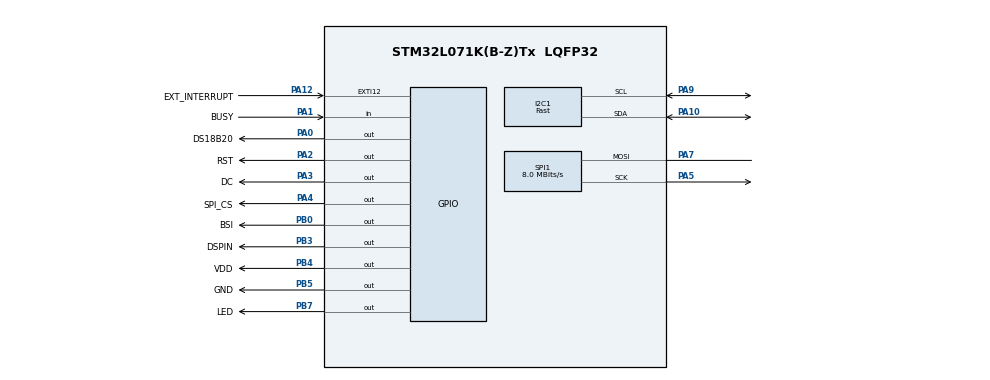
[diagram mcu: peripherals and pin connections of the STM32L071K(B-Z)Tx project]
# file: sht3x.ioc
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Mcu.Family=STM32L0
Dma.SPI1_TX.0.MemInc=DMA_MINC_ENABLE
Dma.SPI1_TX.0.PeriphInc=DMA_PINC_DISABLE
I2C1.I2C_Speed_Mode=I2C_Fast
SPI1.VirtualType=VM_MASTER
PA0.GPIO_Label=DS18B20
VP_RTC_VS_RTC_Activate.Mode=RTC_Enabled
PB0.GPIO_Label=BSI
RCC.SYSCLKSource=RCC_SYSCLKSOURCE_HSI
ProjectManager.StackSize=0x400
SYS.Mode=PWR_PVD_MODE_IT_RISING_FALLING
PA12.Signal=GPXTI12
SPI1.Direction=SPI_DIRECTION_1LINE
RCC.HCLKFreq_Value=16000000
RCC.APB2TimFreq_Value=16000000
SPI1.CalculateBaudRate=8.0 MBits/s
RCC.AHBFreq_Value=16000000
RCC.PLLMUL=RCC_PLLMUL_4
PA14.Mode=Serial_Wire
PB7.Signal=GPIO_Output
PA0.Signal=GPIO_Output
PB7.GPIO_Label=LED
Dma.SPI1_TX.0.Mode=DMA_NORMAL
Mcu.Package=LQFP32
TIM2.Prescaler=15
PA2.GPIO_Label=RST
PA10.Signal=I2C1_SDA
VP_SYS_V_PVD_IN.Mode=Mode_PVD_Int
PB5.GPIO_Label=GND
RCC.APB1TimFreq_Value=16000000
Dma.Request0=SPI1_TX
SPI1.BaudRatePrescaler=SPI_BAUDRATEPRESCALER_2
PA4.GPIO_Label=SPI_CS
NVIC.EXTI4_15_IRQn=true\:3\:0\:true\:false\:true\:true\:true
PB4.Signal=GPIO_Output
PA3.Signal=GPIO_Output
PA5.Mode=Simplex_Bidirectional_Master
PB3.GPIO_Label=DSPIN
RCC.MSI_VALUE=2097000
PA7.Mode=Simplex_Bidirectional_Master
SYS.PVDLevel=PWR_PVDLEVEL_6
PA10.Mode=I2C
PA12.GPIO_Label=EXT_INTERRUPT
PA13.Signal=SYS_SWDIO
RCC.HSI16_VALUE=16000000
PA9.Mode=I2C
ProjectManager.TargetToolchain=STM32CubeIDE
Dma.SPI1_TX.0.PeriphDataAlignment=DMA_PDATAALIGN_BYTE
Dma.SPI1_TX.0.Direction=DMA_MEMORY_TO_PERIPH
PA9.Signal=I2C1_SCL
I2C1.Timing=0x0010061A
RCC.LSE_VALUE=32768
PA1.Signal=GPIO_Input
PA5.Signal=SPI1_SCK
board=custom
RCC.VCOOutputFreq_Value=64000000
PA7.GPIO_Speed=GPIO_SPEED_FREQ_HIGH
RCC.APB2Freq_Value=16000000
PB4.GPIO_Label=VDD
VP_TIM2_VS_ClockSourceINT.Mode=Internal
SPI1.Mode=SPI_MODE_MASTER
PA1.GPIO_Label=BUSY
Dma.SPI1_TX.0.Instance=DMA1_Channel3
PA13.Mode=Serial_Wire
Mcu.Name=STM32L071K(B-Z)Tx
PA2.Signal=GPIO_Output
PB3.Signal=GPIO_Output
PA4.Signal=GPIO_Output
RCC.SYSCLKFreq_VALUE=16000000
PB5.Signal=GPIO_Output
PB5.GPIO_PuPd=GPIO_PULLDOWN
PA14.Signal=SYS_SWCLK
ProjectManager.HeapSize=0x200
Dma.SPI1_TX.0.MemDataAlignment=DMA_MDATAALIGN_BYTE
Dma.SPI1_TX.0.Priority=DMA_PRIORITY_LOW
RCC.HSI_VALUE=16000000
VP_RTC_VS_RTC_WakeUp_intern.Mode=WakeUp
PA5.GPIO_Speed=GPIO_SPEED_FREQ_HIGH
NVIC.DMA1_Channel2_3_IRQn=true\:1\:0\:true\:false\:true\:false\:true
RCC.APB1Freq_Value=16000000
PB0.Signal=GPIO_Output
PB3.GPIO_ModeDefaultOutputPP=GPIO_MODE_OUTPUT_OD
PA3.GPIO_Label=DC
PA7.Signal=SPI1_MOSI

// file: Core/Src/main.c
/* USER CODE BEGIN Header */
/**
  ******************************************************************************
  * @file           : main.c
  * @brief          : Main program body
  ******************************************************************************
  * @attention
  *
  * <h2><center>&copy; Copyright (c) 2021 STMicroelectronics.
  * All rights reserved.</center></h2>
  *
  * This software component is licensed by ST under BSD 3-Clause license,
  * the "License"; You may not use this file except in compliance with the
  * License. You may obtain a copy of the License at:
  *                        opensource.org/licenses/BSD-3-Clause
  *
  ******************************************************************************
  */
/* USER CODE END Header */
#include "main.h"
#include "dma.h"
#include "i2c.h"
#include "rtc.h"
#include "spi.h"
#include "tim.h"
#include "gpio.h"

/* USER CODE BEGIN Includes */
#include "epd2in13d.h"
#include "util.h"
#include "fonts.h"
#include "ds18b20.h"
#include <stdlib.h>
#include "epd_test.h"
#include "sht3x.h"
/* USER CODE END Includes */

/* USER CODE BEGIN PTD */
__IO uint32_t main_timer = MAIN_TIMER_MS;

typedef enum {
    ACTIVE_SENSOR_DS18B20,
    ACTIVE_SENSOR_SHT3X,
    ACTIVE_SENSOR_FAIL
} active_sensor_type;

static char *active_sensor_name[3] = {
    "Active sensor is ds18b20",
    "Active sensor is sht3x",
    "Active sensor failed"
};

static active_sensor_type active_sensor = ACTIVE_SENSOR_FAIL;
/* USER CODE END PTD */

/* USER CODE BEGIN PM */
static sht3x_handle_t handle[] = {
        {
                .i2c_handle = SHT3X_I2C,
                .device_address = SHT3X_I2C_DEVICE_ADDRESS_ADDR_PIN_LOW
        }
};

static ds18b20_cfg_t ds18b20_init_cfg[] = {
        {
                .mode = SKIP_ROM,
                .resolution = RESOLUTION_12BIT,
                .temp_high_trigger = DS_TH_REGISTER_VALUE,
                .temp_low_trigger = DS_TL_REGISTER_VALUE,
                .GPIOx = DS_ONE_WIRE_PORT,
                .odr_bit = DS_ONE_WIRE_ODR_BIT,
                .idr_bit = DS_ONE_WIRE_IDR_BIT,
        }
};
/* USER CODE END PM */

/* USER CODE BEGIN PV */
 void main_loop()
 {
     if (main_timer == 0U) {
         LL_GPIO_TogglePin(LED_GPIO_Port, LED_Pin);

         if (active_sensor == ACTIVE_SENSOR_FAIL) {
             LL_GPIO_SetPinMode(GPIOA, DS_ONE_WIRE_PIN, LL_GPIO_MODE_OUTPUT);
             LL_mDelay(100);
             if (ds18b20_init(ds18b20_init_cfg)) {
                 active_sensor = ACTIVE_SENSOR_DS18B20;
                 DBG("ds18b20 successfully initialized\n");
             } else {
                 if (LL_I2C_IsEnabled(handle->i2c_handle)) {
                     LL_I2C_Disable(handle->i2c_handle);
                 }
                 LL_GPIO_SetPinMode(GPIOA, DS_ONE_WIRE_PIN, LL_GPIO_MODE_ALTERNATE);
                 LL_mDelay(100);
             }

             if (sht3x_init(handle)) {
                 active_sensor = ACTIVE_SENSOR_SHT3X;
                 DBG("SHT3X successfully initialized\n");
             }

             DBG("%s\n", active_sensor_name[active_sensor]);
         }

         if (!is_ds18b20_active() && active_sensor == ACTIVE_SENSOR_DS18B20) {
             if (LL_I2C_IsEnabled(handle->i2c_handle)) {
                 LL_I2C_Disable(handle->i2c_handle);
             }
             active_sensor = ACTIVE_SENSOR_FAIL;
             LL_GPIO_SetPinMode(GPIOA, DS_ONE_WIRE_PIN, LL_GPIO_MODE_ALTERNATE);
             DBG("%s\n", active_sensor_name[active_sensor]);
         }

         if (!is_sht3x_active() && active_sensor == ACTIVE_SENSOR_SHT3X) {
             active_sensor = ACTIVE_SENSOR_FAIL;
             LL_GPIO_SetPinMode(GPIOA, DS_ONE_WIRE_PIN, LL_GPIO_MODE_OUTPUT);
             DBG("%s\n", active_sensor_name[active_sensor]);
         }

         LL_mDelay(100);

         main_timer = MAIN_TIMER_MS;
     }
 }
/* USER CODE END PV */

void SystemClock_Config(void);
/* USER CODE BEGIN PFP */
#if defined(DEBUG) && defined(USING_SEMIHOSTING)
extern void initialise_monitor_handles(void);
#endif
/* USER CODE END PFP */

int main(void)
{

  /* MCU Configuration--------------------------------------------------------*/

  /* Reset of all peripherals, Initializes the Flash interface and the Systick. */

  LL_APB2_GRP1_EnableClock(LL_APB2_GRP1_PERIPH_SYSCFG);
  LL_APB1_GRP1_EnableClock(LL_APB1_GRP1_PERIPH_PWR);

  /* System interrupt init*/

  /** PVD Configuration
  */
  LL_PWR_SetPVDLevel(LL_PWR_PVDLEVEL_6);

  /* Configure EXTI line 16 */
  LL_EXTI_InitTypeDef exti_initstruct;
  exti_initstruct.Line_0_31 = LL_EXTI_LINE_16;
  exti_initstruct.LineCommand = ENABLE;

  exti_initstruct.Mode = LL_EXTI_MODE_IT;

  exti_initstruct.Trigger = LL_EXTI_TRIGGER_RISING_FALLING;

  LL_EXTI_Init( &exti_initstruct);
  /** Enable the PVD Output
  */
  LL_PWR_EnablePVD();

  /* Configure the system clock */
  SystemClock_Config();

  /* USER CODE BEGIN SysInit */
# if defined(USING_SEMIHOSTING)
  initialise_monitor_handles();
# endif
  /* USER CODE END SysInit */

  /* Initialize all configured peripherals */
  MX_GPIO_Init();
  MX_DMA_Init();
  MX_SPI1_Init();
  MX_RTC_Init();
  MX_TIM2_Init();
  MX_I2C1_Init();
  /* USER CODE BEGIN 2 */
  LL_SYSTICK_EnableIT();

  LL_GPIO_SetOutputPin(VDD_GPIO_Port, VDD_Pin);
  LL_GPIO_ResetOutputPin(DC_GPIO_Port, DC_Pin);
  LL_GPIO_SetOutputPin(SPI_CS_GPIO_Port, SPI_CS_Pin);
  LL_GPIO_SetOutputPin(RST_GPIO_Port, RST_Pin);
  LL_mDelay(500);

  /* Change i2c clock pin mode to output */
  LL_GPIO_SetPinMode(GPIOA, DS_ONE_WIRE_PIN, LL_GPIO_MODE_OUTPUT);
  LL_mDelay(10);
  if (ds18b20_init(ds18b20_init_cfg)) {
      active_sensor = ACTIVE_SENSOR_DS18B20;
      DBG("ds18b20 successfully initialized\n");
  } else {
      if (LL_I2C_IsEnabled(handle->i2c_handle)) {
          LL_I2C_Disable(handle->i2c_handle);
      }
      LL_GPIO_SetPinMode(GPIOA, DS_ONE_WIRE_PIN, LL_GPIO_MODE_ALTERNATE);
      DBG("ds18b20 initialization failed configuring clock pin to alternate mode\n");
      LL_mDelay(10);
  }

  if (sht3x_init(handle)) {
      active_sensor = ACTIVE_SENSOR_SHT3X;
      DBG("SHT3X successfully initialized\n");
  }
 // epd_2in13d_prepare();

  /* USER CODE END 2 */

  /* Infinite loop */
  /* USER CODE BEGIN WHILE */
  while (1)
  {
      sht3x_loop();
      main_loop();
      ds18b20_loop();
    //  epd_2in13d_loop();
#if 0

    LL_GPIO_SetOutputPin(LED_GPIO_Port, LED_Pin);
    LL_mDelay(1000);
    DBG("e-Paper init failed\n");
    LL_GPIO_ResetOutputPin(LED_GPIO_Port, LED_Pin);
    LL_mDelay(1000);
#endif
    /* USER CODE END WHILE */

  }
}

void SystemClock_Config(void)
{
  LL_FLASH_SetLatency(LL_FLASH_LATENCY_0);
  while(LL_FLASH_GetLatency()!= LL_FLASH_LATENCY_0)
  {
  }
  LL_PWR_SetRegulVoltageScaling(LL_PWR_REGU_VOLTAGE_SCALE1);
  LL_RCC_HSI_Enable();

   /* Wait till HSI is ready */
  while(LL_RCC_HSI_IsReady() != 1)
  {

  }
  LL_RCC_HSI_SetCalibTrimming(16);
  LL_RCC_LSI_Enable();

   /* Wait till LSI is ready */
  while(LL_RCC_LSI_IsReady() != 1)
  {

  }
  LL_PWR_EnableBkUpAccess();
  if(LL_RCC_GetRTCClockSource() != LL_RCC_RTC_CLKSOURCE_LSI)
  {
    LL_RCC_ForceBackupDomainReset();
    LL_RCC_ReleaseBackupDomainReset();
    LL_RCC_SetRTCClockSource(LL_RCC_RTC_CLKSOURCE_LSI);
  }
  LL_RCC_EnableRTC();
  LL_RCC_SetAHBPrescaler(LL_RCC_SYSCLK_DIV_1);
  LL_RCC_SetAPB1Prescaler(LL_RCC_APB1_DIV_1);
  LL_RCC_SetAPB2Prescaler(LL_RCC_APB2_DIV_1);
  LL_RCC_SetSysClkSource(LL_RCC_SYS_CLKSOURCE_HSI);

   /* Wait till System clock is ready */
  while(LL_RCC_GetSysClkSource() != LL_RCC_SYS_CLKSOURCE_STATUS_HSI)
  {

  }

  LL_Init1msTick(16000000);

  LL_SetSystemCoreClock(16000000);
  LL_RCC_SetI2CClockSource(LL_RCC_I2C1_CLKSOURCE_PCLK1);
}

/* USER CODE BEGIN 4 */

/* prepare things before entering into a low power mode */
void deinit(enum power_save_t power_save_mode)
{
    (void)power_save_mode;

//    rs485_deinit();
//    gprs_deinit();
//    adc_deinit();

//    MX_DMA_DeInit();

    MX_GPIO_DeInit();
}

/* prepare things after exiting a low power mode */
void reinit(enum power_save_t power_save_mode)
{
    (void)power_save_mode;

    MX_GPIO_ReInit();

//    if (!LL_AHB1_GRP1_IsEnabledClock(LL_AHB1_GRP1_PERIPH_DMA1)) {
//        MX_DMA_Init();
//    }
}

/* USER CODE END 4 */

void Error_Handler(void)
{
  __disable_irq();
  while (1)
  {
  }
}

/************************ (C) COPYRIGHT STMicroelectronics *****END OF FILE****/
